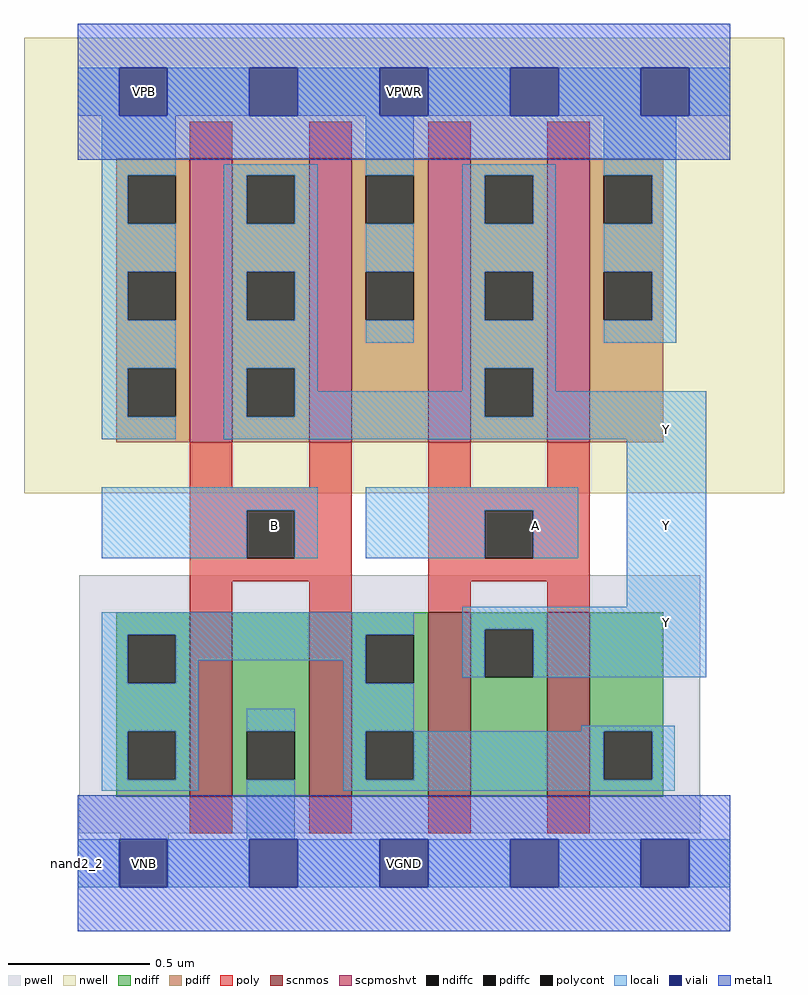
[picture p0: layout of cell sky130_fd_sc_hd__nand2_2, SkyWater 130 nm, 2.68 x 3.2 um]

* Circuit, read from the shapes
.subckt sky130_fd_sc_hd__nand2_2 A B VGND VNB VPB VPWR Y
XM1 VGND B n1 VNB sky130_fd_pr__nfet_01v8 w=0.65 l=0.15 m=2
XM2 Y A n1 VNB sky130_fd_pr__nfet_01v8 w=0.65 l=0.15 m=2
XM3 Y B VPWR VPB sky130_fd_pr__pfet_01v8_hvt w=1 l=0.15 m=2
XM4 Y A VPWR VPB sky130_fd_pr__pfet_01v8_hvt w=1 l=0.15 m=2
.ends

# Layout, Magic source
magic
tech sky130B
magscale 1 2
<< nwell >>
rect -38 261 498 582
<< pwell >>
rect 1 21 439 203
rect 30 -17 64 21
<< scnmos >>
rect 79 47 109 177
rect 163 47 193 177
rect 247 47 277 177
rect 331 47 361 177
<< scpmoshvt >>
rect 79 297 109 497
rect 163 297 193 497
rect 247 297 277 497
rect 331 297 361 497
<< ndiff >>
rect 27 161 79 177
rect 27 127 35 161
rect 69 127 79 161
rect 27 93 79 127
rect 27 59 35 93
rect 69 59 79 93
rect 27 47 79 59
rect 109 93 163 177
rect 109 59 119 93
rect 153 59 163 93
rect 109 47 163 59
rect 193 161 247 177
rect 193 127 203 161
rect 237 127 247 161
rect 193 93 247 127
rect 193 59 203 93
rect 237 59 247 93
rect 193 47 247 59
rect 277 165 331 177
rect 277 131 287 165
rect 321 131 331 165
rect 277 47 331 131
rect 361 93 413 177
rect 361 59 371 93
rect 405 59 413 93
rect 361 47 413 59
<< pdiff >>
rect 27 485 79 497
rect 27 451 35 485
rect 69 451 79 485
rect 27 417 79 451
rect 27 383 35 417
rect 69 383 79 417
rect 27 349 79 383
rect 27 315 35 349
rect 69 315 79 349
rect 27 297 79 315
rect 109 485 163 497
rect 109 451 119 485
rect 153 451 163 485
rect 109 417 163 451
rect 109 383 119 417
rect 153 383 163 417
rect 109 349 163 383
rect 109 315 119 349
rect 153 315 163 349
rect 109 297 163 315
rect 193 485 247 497
rect 193 451 203 485
rect 237 451 247 485
rect 193 417 247 451
rect 193 383 203 417
rect 237 383 247 417
rect 193 297 247 383
rect 277 485 331 497
rect 277 451 287 485
rect 321 451 331 485
rect 277 417 331 451
rect 277 383 287 417
rect 321 383 331 417
rect 277 349 331 383
rect 277 315 287 349
rect 321 315 331 349
rect 277 297 331 315
rect 361 485 413 497
rect 361 451 371 485
rect 405 451 413 485
rect 361 417 413 451
rect 361 383 371 417
rect 405 383 413 417
rect 361 297 413 383
<< ndiffc >>
rect 35 127 69 161
rect 35 59 69 93
rect 119 59 153 93
rect 203 127 237 161
rect 203 59 237 93
rect 287 131 321 165
rect 371 59 405 93
<< pdiffc >>
rect 35 451 69 485
rect 35 383 69 417
rect 35 315 69 349
rect 119 451 153 485
rect 119 383 153 417
rect 119 315 153 349
rect 203 451 237 485
rect 203 383 237 417
rect 287 451 321 485
rect 287 383 321 417
rect 287 315 321 349
rect 371 451 405 485
rect 371 383 405 417
<< poly >>
rect 79 497 109 523
rect 163 497 193 523
rect 247 497 277 523
rect 331 497 361 523
rect 79 265 109 297
rect 163 265 193 297
rect 79 249 193 265
rect 79 215 119 249
rect 153 215 193 249
rect 79 199 193 215
rect 79 177 109 199
rect 163 177 193 199
rect 247 265 277 297
rect 331 265 361 297
rect 247 249 361 265
rect 247 215 287 249
rect 321 215 361 249
rect 247 199 361 215
rect 247 177 277 199
rect 331 177 361 199
rect 79 21 109 47
rect 163 21 193 47
rect 247 21 277 47
rect 331 21 361 47
<< polycont >>
rect 119 215 153 249
rect 287 215 321 249
<< locali >>
rect 0 527 29 561
rect 63 527 121 561
rect 155 527 213 561
rect 247 527 305 561
rect 339 527 397 561
rect 431 527 460 561
rect 17 485 69 527
rect 17 451 35 485
rect 17 417 69 451
rect 17 383 35 417
rect 17 349 69 383
rect 17 315 35 349
rect 17 299 69 315
rect 103 485 169 493
rect 103 451 119 485
rect 153 451 169 485
rect 103 417 169 451
rect 103 383 119 417
rect 153 383 169 417
rect 103 349 169 383
rect 203 485 237 527
rect 203 417 237 451
rect 203 367 237 383
rect 271 485 337 493
rect 271 451 287 485
rect 321 451 337 485
rect 271 417 337 451
rect 271 383 287 417
rect 321 383 337 417
rect 103 315 119 349
rect 153 333 169 349
rect 271 349 337 383
rect 371 485 422 527
rect 405 451 422 485
rect 371 417 422 451
rect 405 383 422 417
rect 371 367 422 383
rect 271 333 287 349
rect 153 315 287 333
rect 321 333 337 349
rect 321 315 443 333
rect 103 299 443 315
rect 17 249 169 265
rect 17 215 119 249
rect 153 215 169 249
rect 203 249 353 265
rect 203 215 287 249
rect 321 215 353 249
rect 387 181 443 299
rect 17 161 237 177
rect 17 127 35 161
rect 69 143 203 161
rect 69 127 85 143
rect 17 93 85 127
rect 187 127 203 143
rect 271 165 443 181
rect 271 131 287 165
rect 321 131 443 165
rect 17 59 35 93
rect 69 59 85 93
rect 17 51 85 59
rect 119 93 153 109
rect 119 17 153 59
rect 187 93 237 127
rect 355 93 421 97
rect 187 59 203 93
rect 237 59 371 93
rect 405 59 421 93
rect 187 51 421 59
rect 0 -17 29 17
rect 63 -17 121 17
rect 155 -17 213 17
rect 247 -17 305 17
rect 339 -17 397 17
rect 431 -17 460 17
<< viali >>
rect 29 527 63 561
rect 121 527 155 561
rect 213 527 247 561
rect 305 527 339 561
rect 397 527 431 561
rect 29 -17 63 17
rect 121 -17 155 17
rect 213 -17 247 17
rect 305 -17 339 17
rect 397 -17 431 17
<< metal1 >>
rect 0 561 460 592
rect 0 527 29 561
rect 63 527 121 561
rect 155 527 213 561
rect 247 527 305 561
rect 339 527 397 561
rect 431 527 460 561
rect 0 496 460 527
rect 0 17 460 48
rect 0 -17 29 17
rect 63 -17 121 17
rect 155 -17 213 17
rect 247 -17 305 17
rect 339 -17 397 17
rect 431 -17 460 17
rect 0 -48 460 -17
<< labels >>
flabel locali s 398 153 432 187 0 FreeSans 250 0 0 0 Y
port 7 nsew signal output
flabel locali s 398 221 432 255 0 FreeSans 250 0 0 0 Y
port 7 nsew signal output
flabel locali s 398 289 432 323 0 FreeSans 250 0 0 0 Y
port 7 nsew signal output
flabel locali s 306 221 340 255 0 FreeSans 250 0 0 0 A
port 1 nsew signal input
flabel locali s 122 221 156 255 0 FreeSans 250 0 0 0 B
port 2 nsew signal input
flabel nwell s 30 527 64 561 0 FreeSans 200 0 0 0 VPB
port 5 nsew power bidirectional
flabel pwell s 30 -17 64 17 0 FreeSans 200 0 0 0 VNB
port 4 nsew ground bidirectional
flabel metal1 s 30 -17 64 17 0 FreeSans 200 0 0 0 VGND
port 3 nsew ground bidirectional abutment
flabel metal1 s 30 527 64 561 0 FreeSans 200 0 0 0 VPWR
port 6 nsew power bidirectional abutment
rlabel comment s 0 0 0 0 4 nand2_2
rlabel metal1 s 0 -48 460 48 1 VGND
port 3 nsew ground bidirectional abutment
rlabel metal1 s 0 496 460 592 1 VPWR
port 6 nsew power bidirectional abutment
<< properties >>
string FIXED_BBOX 0 0 460 544
string GDS_END 1631518
string GDS_FILE $PDKPATH/libs.ref/sky130_fd_sc_hd/gds/sky130_fd_sc_hd.gds
string GDS_START 1626538
string LEFclass CORE
string LEFsite unithd
string LEFsymmetry X Y R90
string path 0.000 0.000 11.500 0.000 
<< end >>
